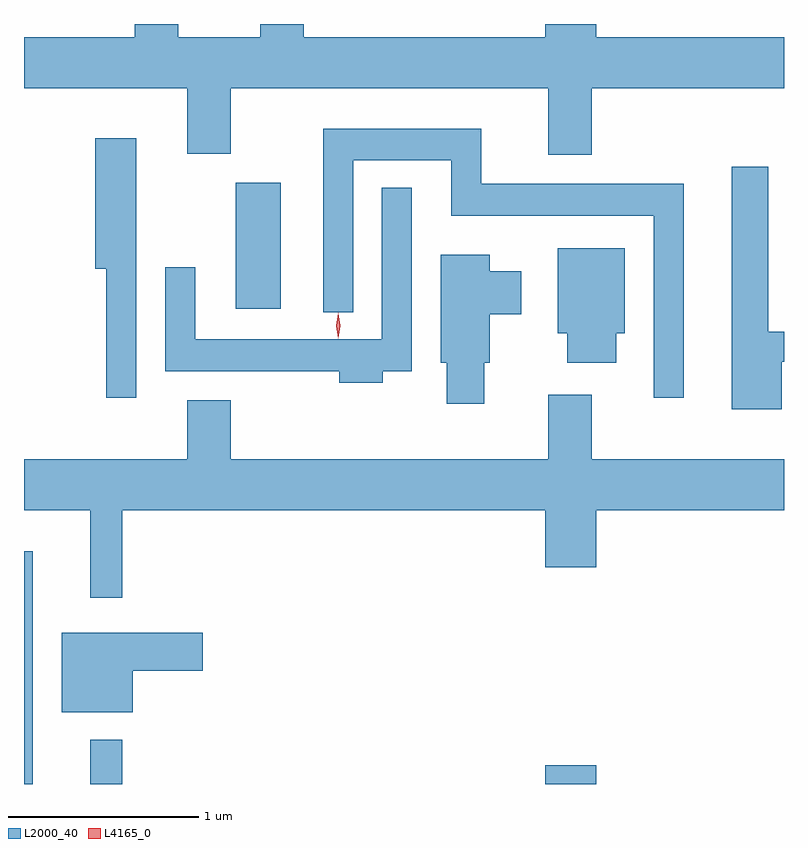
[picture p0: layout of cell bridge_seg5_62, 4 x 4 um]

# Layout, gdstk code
import gdstk
lib = gdstk.Library(unit=1e-6, precision=1e-09)
def R(c, l, rs):  # rectangles x0, y0, x1, y1
    for r in rs: c.add(gdstk.rectangle(r[:2], r[2:], *l))
def P(c, l, *ps):  # polygons
    for p in ps: c.add(gdstk.Polygon(p, *l))
L2000_40 = (2000, 40)
L4165_0 = (4165, 0)

bridge_seg5_62 = lib.new_cell('bridge_seg5_62')
R(bridge_seg5_62, L2000_40, [(1311.232,1462.014,1311.279,1463.238), (1311.581,1462.014,1311.749,1462.248), (1313.976,1462.014,1314.244,1462.114), (1312.346,1464.516,1312.584,1465.179)])
P(bridge_seg5_62, L2000_40, [(1314.219,1465.676),(1315.232,1465.676),(1315.232,1465.944),(1314.244,1465.944),(1314.244,1466.014),(1313.976,1466.014),(1313.976,1465.944),(1312.704,1465.944),(1312.704,1466.014),(1312.476,1466.014),(1312.476,1465.944),(1312.044,1465.944),(1312.044,1466.014),(1311.816,1466.014),(1311.816,1465.944),(1311.232,1465.944),(1311.232,1465.676),(1312.091,1465.676),(1312.091,1465.331),(1312.319,1465.331),(1312.319,1465.676),(1313.991,1465.676),(1313.991,1465.326),(1314.219,1465.326)],
  [(1314.704,1465.174),(1313.639,1465.174),(1313.639,1465.464),(1312.806,1465.464),(1312.806,1464.498),(1312.964,1464.498),(1312.964,1465.296),(1313.481,1465.296),(1313.481,1465.006),(1314.546,1465.006),(1314.546,1464.048),(1314.704,1464.048)],
  [(1311.824,1465.414),(1311.606,1465.414),(1311.606,1464.726),(1311.666,1464.726),(1311.666,1464.048),(1311.824,1464.048)],
  [(1315.219,1464.236),(1315.232,1464.236),(1315.232,1464.394),(1315.149,1464.394),(1315.149,1465.264),(1314.956,1465.264),(1314.956,1463.986),(1315.219,1463.986)],
  [(1313.119,1464.186),(1313.274,1464.186),(1313.274,1465.153),(1313.116,1465.153),(1313.116,1464.354),(1312.134,1464.354),(1312.134,1464.733),(1311.976,1464.733),(1311.976,1464.186),(1312.891,1464.186),(1312.891,1464.126),(1313.119,1464.126)],
  [(1314.349,1464.386),(1314.394,1464.386),(1314.394,1464.834),(1314.041,1464.834),(1314.041,1464.386),(1314.091,1464.386),(1314.091,1464.231),(1314.349,1464.231)],
  [(1313.654,1464.231),(1313.684,1464.231),(1313.684,1464.486),(1313.849,1464.486),(1313.849,1464.714),(1313.684,1464.714),(1313.684,1464.799),(1313.426,1464.799),(1313.426,1464.231),(1313.456,1464.231),(1313.456,1464.016),(1313.654,1464.016)],
  [(1311.749,1463.456),(1313.976,1463.456),(1313.976,1463.156),(1314.244,1463.156),(1314.244,1463.456),(1315.232,1463.456),(1315.232,1463.724),(1314.219,1463.724),(1314.219,1464.064),(1313.991,1464.064),(1313.991,1463.724),(1312.319,1463.724),(1312.319,1464.034),(1312.091,1464.034),(1312.091,1463.724),(1311.232,1463.724),(1311.232,1463.456),(1311.581,1463.456),(1311.581,1462.993),(1311.749,1462.993)],
  [(1311.804,1462.611),(1312.174,1462.611),(1312.174,1462.809),(1311.431,1462.809),(1311.431,1462.391),(1311.804,1462.391)])
P(bridge_seg5_62, L4165_0, [(1312.886,1464.359),(1312.885,1464.36),(1312.876,1464.426),(1312.885,1464.492),(1312.885,1464.493),(1312.886,1464.492),(1312.896,1464.426),(1312.886,1464.36)])

lib.write_gds('bridge_seg5_62.gds')
